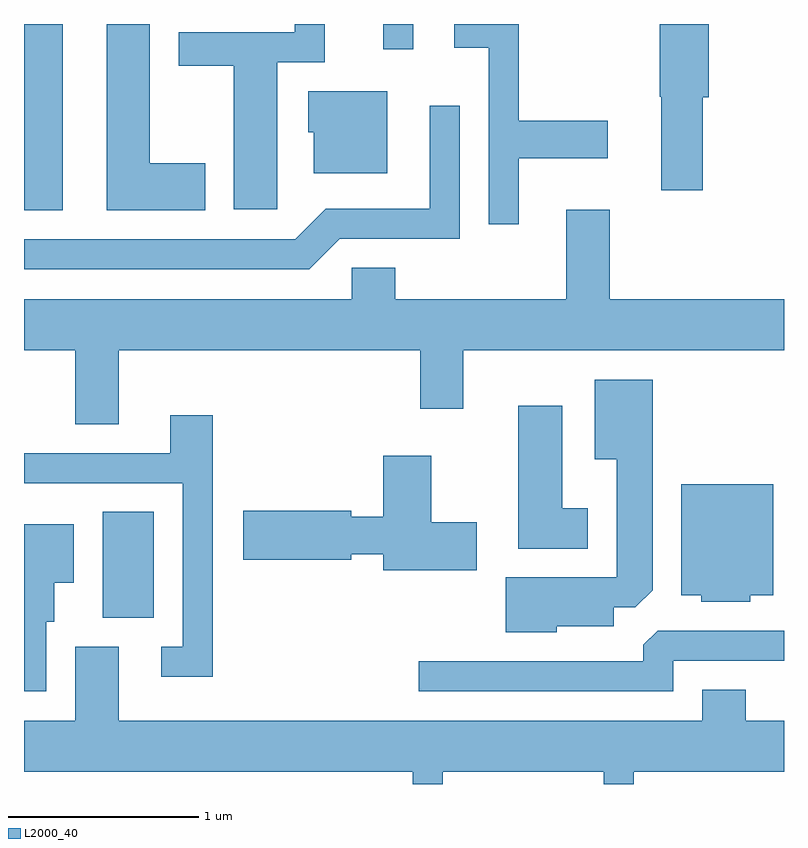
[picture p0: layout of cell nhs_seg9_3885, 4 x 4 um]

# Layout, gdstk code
import gdstk
lib = gdstk.Library(unit=1e-6, precision=1e-09)
def R(c, l, rs):  # rectangles x0, y0, x1, y1
    for r in rs: c.add(gdstk.rectangle(r[:2], r[2:], *l))
def P(c, l, *ps):  # polygons
    for p in ps: c.add(gdstk.Polygon(p, *l))
L2000_40 = (2000, 40)

nhs_seg9_3885 = lib.new_cell('nhs_seg9_3885')
R(nhs_seg9_3885, L2000_40, [(300.026,1979.306,300.294,1979.864), (299.611,1981.451,299.814,1982.432), (301.501,1982.298,301.659,1982.432)])
P(nhs_seg9_3885, L2000_40, [(302.214,1981.726),(302.684,1981.726),(302.684,1981.924),(302.214,1981.924),(302.214,1982.432),(301.876,1982.432),(301.876,1982.306),(302.056,1982.306),(302.056,1981.378),(302.214,1981.378)],
  [(300.944,1982.231),(301.194,1982.231),(301.194,1982.432),(301.036,1982.432),(301.036,1982.389),(300.426,1982.389),(300.426,1982.211),(300.716,1982.211),(300.716,1981.456),(300.944,1981.456)],
  [(300.564,1981.699),(300.274,1981.699),(300.274,1982.432),(300.046,1982.432),(300.046,1981.451),(300.564,1981.451)],
  [(303.184,1982.046),(303.214,1982.046),(303.214,1982.432),(302.956,1982.432),(302.956,1982.05),(302.966,1982.05),(302.966,1981.556),(303.184,1981.556)],
  [(301.524,1982.079),(301.106,1982.079),(301.106,1981.861),(301.136,1981.861),(301.136,1981.646),(301.524,1981.646)],
  [(301.272,1981.301),(301.904,1981.301),(301.904,1982.003),(301.746,1982.003),(301.746,1981.459),(301.199,1981.459),(301.039,1981.299),(299.611,1981.299),(299.611,1981.141),(301.112,1981.141)],
  [(300.109,1980.716),(301.696,1980.716),(301.696,1980.406),(301.924,1980.406),(301.924,1980.716),(303.611,1980.716),(303.611,1980.984),(302.694,1980.984),(302.694,1981.454),(302.466,1981.454),(302.466,1980.984),(301.564,1980.984),(301.564,1981.149),(301.336,1981.149),(301.336,1980.984),(299.611,1980.984),(299.611,1980.716),(299.881,1980.716),(299.881,1980.326),(300.109,1980.326)],
  [(302.414,1979.261),(302.714,1979.261),(302.714,1979.361),(302.829,1979.361),(302.919,1979.452),(302.919,1980.559),(302.616,1980.559),(302.616,1980.141),(302.731,1980.141),(302.731,1979.519),(302.146,1979.519),(302.146,1979.231),(302.414,1979.231)],
  [(302.579,1979.884),(302.444,1979.884),(302.444,1980.424),(302.211,1980.424),(302.211,1979.671),(302.579,1979.671)],
  [(300.604,1980.374),(300.381,1980.374),(300.381,1980.174),(299.611,1980.174),(299.611,1980.016),(300.446,1980.016),(300.446,1979.154),(300.333,1979.154),(300.333,1978.996),(300.604,1978.996)],
  [(301.994,1979.809),(301.754,1979.809),(301.754,1980.159),(301.501,1980.159),(301.501,1979.839),(301.334,1979.839),(301.334,1979.869),(300.766,1979.869),(300.766,1979.611),(301.334,1979.611),(301.334,1979.641),(301.501,1979.641),(301.501,1979.556),(301.994,1979.556)],
  [(303.434,1979.426),(303.554,1979.426),(303.554,1980.009),(303.071,1980.009),(303.071,1979.426),(303.176,1979.426),(303.176,1979.391),(303.434,1979.391)],
  [(299.729,1979.286),(299.769,1979.286),(299.769,1979.491),(299.874,1979.491),(299.874,1979.799),(299.611,1979.799),(299.611,1978.921),(299.729,1978.921)],
  [(303.029,1979.081),(303.611,1979.081),(303.611,1979.239),(302.947,1979.239),(302.871,1979.164),(302.871,1979.079),(301.688,1979.079),(301.688,1978.921),(303.029,1978.921)],
  [(301.814,1978.496),(302.661,1978.496),(302.661,1978.432),(302.819,1978.432),(302.819,1978.496),(303.611,1978.496),(303.611,1978.764),(303.409,1978.764),(303.409,1978.929),(303.181,1978.929),(303.181,1978.764),(300.109,1978.764),(300.109,1979.154),(299.881,1979.154),(299.881,1978.764),(299.611,1978.764),(299.611,1978.496),(301.656,1978.496),(301.656,1978.432),(301.814,1978.432)])

lib.write_gds('nhs_seg9_3885.gds')
